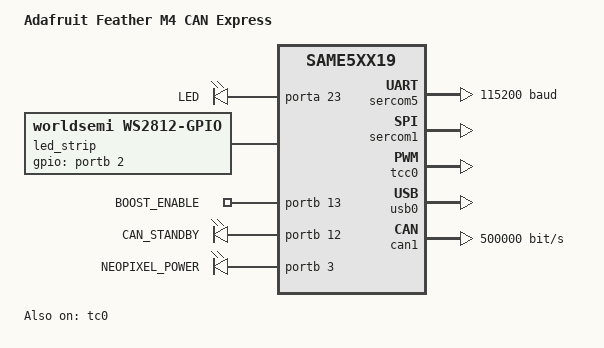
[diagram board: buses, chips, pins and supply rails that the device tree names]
/*
 * Copyright (c) 2024
 * SPDX-License-Identifier: Apache-2.0
 *
 * Adafruit Feather M4 CAN Express
 * Uses ATSAME51J19A (NOT SAMD51!) which has CAN support
 */

/dts-v1/;
#include <atmel/same5xx19.dtsi>
#include "feather_m4_can_express-pinctrl.dtsi"
#include <zephyr/dt-bindings/led/led.h>

/ {
	model = "Adafruit Feather M4 CAN Express";
	compatible = "adafruit,feather-m4-can-express";

	chosen {
		zephyr,console = &sercom5;
		zephyr,shell-uart = &sercom5;
		zephyr,sram = &sram0;
		zephyr,flash = &flash0;
		zephyr,code-partition = &code_partition;
		zephyr,canbus = &can1;
	};

	aliases {
		led0 = &led0;
		pwm-0 = &tcc0;
		pwm-1 = &tc0;
		led-strip = &led_strip;
		can-boost-enable = &boost_enable;
		can-standby = &can_standby;
	};

	leds {
		compatible = "gpio-leds";

		led0: led_0 {
			gpios = <&porta 23 0>;
			label = "LED";
		};
	};

	/* NeoPixel LED - PB02 data, PB03 power enable */
	led_strip: ws2812 {
		compatible = "worldsemi,ws2812-gpio";
		gpios = <&portb 2 0>;
		chain-length = <1>;
		color-mapping = <LED_COLOR_ID_GREEN
				 LED_COLOR_ID_RED
				 LED_COLOR_ID_BLUE
				 LED_COLOR_ID_WHITE>;
	};

	/* CAN transceiver control GPIOs */
	can_xcvr_ctrl {
		compatible = "gpio-leds";

		/* Boost converter enable: PB13 (HIGH to enable 5V for CAN bus) */
		boost_enable: boost_enable {
			gpios = <&portb 13 0>;
			label = "BOOST_ENABLE";
		};

		/* CAN transceiver standby: PB12 (LOW to enable transceiver) */
		can_standby: can_standby {
			gpios = <&portb 12 0>;
			label = "CAN_STANDBY";
		};
	};

	/* NeoPixel power enable: PB03 */
	neopixel_pwr {
		compatible = "gpio-leds";
		neopixel_power: neopixel_power {
			gpios = <&portb 3 0>;
			label = "NEOPIXEL_POWER";
		};
	};
};

&cpu0 {
	clock-frequency = <120000000>;
};

&sercom5 {
	status = "okay";
	compatible = "atmel,sam0-uart";
	current-speed = <115200>;
	rxpo = <1>;
	txpo = <0>;
	pinctrl-0 = <&sercom5_uart_default>;
	pinctrl-names = "default";
};

&sercom1 {
	status = "okay";
	compatible = "atmel,sam0-spi";
	dipo = <3>;
	dopo = <0>;
	#address-cells = <1>;
	#size-cells = <0>;
	pinctrl-0 = <&sercom1_spi_default>;
	pinctrl-names = "default";
};

&tcc0 {
	status = "okay";
	compatible = "atmel,sam0-tcc-pwm";
	prescaler = <8>;
	#pwm-cells = <2>;
	pinctrl-0 = <&pwm0_default>;
	pinctrl-names = "default";
};

&tc0 {
	status = "okay";
	compatible = "atmel,sam0-tc-pwm";
	prescaler = <1024>;
	#pwm-cells = <2>;
	channels = <2>;
	counter-size = <16>;
	pinctrl-0 = <&tc0_default>;
	pinctrl-names = "default";
};

zephyr_udc0: &usb0 {
	status = "okay";
	pinctrl-0 = <&usb_dc_default>;
	pinctrl-names = "default";
};

&dmac {
	status = "okay";
};

/* CAN1 controller - connected to on-board transceiver */
&can1 {
	status = "okay";
	pinctrl-0 = <&can1_default>;
	pinctrl-names = "default";
	bus-speed = <500000>;

	can-transceiver {
		max-bitrate = <1000000>;
	};
};

&flash0 {
	partitions {
		compatible = "fixed-partitions";
		#address-cells = <1>;
		#size-cells = <1>;

		boot_partition: partition@0 {
			label = "uf2";
			reg = <0x00000000 DT_SIZE_K(16)>;
			read-only;
		};

		code_partition: partition@4000 {
			label = "code";
			reg = <0x4000 DT_SIZE_K(512-16-16)>;
			read-only;
		};

		storage_partition: partition@7c000 {
			label = "storage";
			reg = <0x7c000 DT_SIZE_K(16)>;
		};
	};
};

